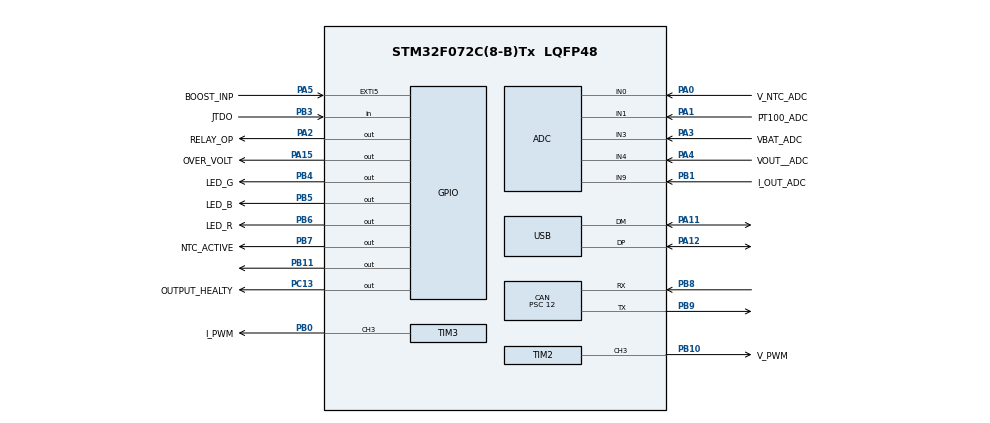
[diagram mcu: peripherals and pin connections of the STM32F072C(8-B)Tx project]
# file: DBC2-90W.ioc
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ADC.ContinuousConvMode=DISABLE
ADC.DMAContinuousRequests=ENABLE
ADC.DiscontinuousConvMode=ENABLE
ADC.EOCSelection=ADC_EOC_SEQ_CONV
ADC.ExternalTrigConv=ADC_EXTERNALTRIGCONV_T3_TRGO
ADC.Overrun=ADC_OVR_DATA_OVERWRITTEN
ADC.SamplingTime=ADC_SAMPLETIME_71CYCLES_5
CAN.BS1=CAN_BS1_13TQ
CAN.BS2=CAN_BS2_2TQ
CAN.CalculateBaudRate=250000
CAN.CalculateTimeBit=4000
CAN.CalculateTimeQuantum=250.0
CAN.Mode=CAN_MODE_LOOPBACK
CAN.NART=ENABLE
CAN.Prescaler=12
CAN.SJW=CAN_SJW_1TQ
CAN.TTCM=DISABLE
Dma.ADC.0.Direction=DMA_PERIPH_TO_MEMORY
Dma.ADC.0.Instance=DMA1_Channel1
Dma.ADC.0.MemDataAlignment=DMA_MDATAALIGN_HALFWORD
Dma.ADC.0.MemInc=DMA_MINC_ENABLE
Dma.ADC.0.Mode=DMA_CIRCULAR
Dma.ADC.0.PeriphDataAlignment=DMA_PDATAALIGN_HALFWORD
Dma.ADC.0.PeriphInc=DMA_PINC_DISABLE
Dma.ADC.0.Priority=DMA_PRIORITY_HIGH
Dma.Request0=ADC
Mcu.Family=STM32F0
Mcu.Name=STM32F072C(8-B)Tx
Mcu.Package=LQFP48
NVIC.CEC_CAN_IRQn=true\:0\:0\:false\:false\:true\:true\:true\:true
NVIC.EXTI4_15_IRQn=true\:2\:0\:true\:false\:true\:true\:true\:true
NVIC.TIM14_IRQn=true\:1\:0\:true\:false\:true\:true\:true\:true
NVIC.TIM15_IRQn=true\:3\:0\:false\:false\:true\:false\:true\:true
NVIC.TimeBase=TIM15_IRQn
NVIC.TimeBaseIP=TIM15
NVIC.USB_IRQn=true\:0\:0\:true\:false\:true\:false\:true\:true
PA0.GPIO_Label=V_NTC_ADC
PA0.Mode=IN0
PA0.Signal=ADC_IN0
PA1.GPIO_Label=PT100_ADC
PA1.Mode=IN1
PA1.Signal=ADC_IN1
PA11.Mode=Device
PA11.Signal=USB_DM
PA12.Mode=Device
PA12.Signal=USB_DP
PA13.Mode=Serial_Wire
PA13.Signal=SYS_SWDIO
PA14.Mode=Serial_Wire
PA14.Signal=SYS_SWCLK
PA15.GPIO_Label=OVER_VOLT
PA15.GPIO_PuPd=GPIO_PULLUP
PA15.Signal=GPIO_Output
PA2.GPIO_Label=RELAY_OP
PA2.Signal=GPIO_Output
PA3.GPIO_Label=VBAT_ADC
PA3.Mode=IN3
PA3.Signal=ADC_IN3
PA4.GPIO_Label=VOUT__ADC
PA4.Mode=IN4
PA4.Signal=ADC_IN4
PA5.GPIO_Label=BOOST_INP
PA5.GPIO_ModeDefaultEXTI=GPIO_MODE_IT_RISING_FALLING
PA5.Signal=GPXTI5
PB0.GPIO_Label=I_PWM
PB0.Signal=S_TIM3_CH3
PB1.GPIO_Label=I_OUT_ADC
PB1.Mode=IN9
PB1.Signal=ADC_IN9
PB10.GPIO_Label=V_PWM
PB10.Signal=S_TIM2_CH3
PB11.Signal=GPIO_Output
PB3.GPIO_Label=JTDO
PB3.Signal=GPIO_Input
PB4.GPIO_Label=LED_G
PB4.Signal=GPIO_Output
PB5.GPIO_Label=LED_B
PB5.Signal=GPIO_Output
PB6.GPIO_Label=LED_R
PB6.Signal=GPIO_Output
PB7.GPIO_Label=NTC_ACTIVE
PB7.Signal=GPIO_Output
PB8.Mode=CAN_Activate
PB8.Signal=CAN_RX
PB9.Mode=CAN_Activate
PB9.Signal=CAN_TX
PC13.GPIO_Label=OUTPUT_HEALTY
PC13.GPIO_PuPd=GPIO_PULLDOWN
PC13.Signal=GPIO_Output
ProjectManager.HeapSize=0x200
ProjectManager.StackSize=0x400
ProjectManager.TargetToolchain=STM32CubeIDE
RCC.AHBFreq_Value=48000000
RCC.APB1Freq_Value=48000000
RCC.APB1TimFreq_Value=48000000
RCC.HCLKFreq_Value=48000000
RCC.SYSCLKFreq_VALUE=48000000
RCC.SYSCLKSource=RCC_SYSCLKSOURCE_HSI48
SH.S_TIM2_CH3.0=TIM2_CH3,PWM Generation3 CH3
SH.S_TIM3_CH3.0=TIM3_CH3,PWM Generation3 CH3
TIM14.AutoReloadPreload=TIM_AUTORELOAD_PRELOAD_DISABLE
TIM14.Period=12000-1
TIM14.Prescaler=4-1
TIM2.Channel-PWM\ Generation3\ CH3=TIM_CHANNEL_3
TIM2.Period=3200-1
TIM2.Prescaler=1-1
TIM2.TIM_MasterOutputTrigger=TIM_TRGO_UPDATE
TIM3.Channel-PWM\ Generation3\ CH3=TIM_CHANNEL_3
TIM3.OCPolarity_3=TIM_OCPOLARITY_LOW
TIM3.Period=3200-1
TIM3.Prescaler=1-1
TIM3.TIM_MasterOutputTrigger=TIM_TRGO_UPDATE
USB_DEVICE.CLASS_NAME_FS=CDC
USB_DEVICE.MANUFACTURER_STRING=EN-KO Control Systems
USB_DEVICE.VirtualMode=Cdc
USB_DEVICE.VirtualModeFS=Cdc_FS
VP_ADC_TempSens_Input.Mode=IN-TempSens
VP_IWDG_VS_IWDG.Mode=IWDG_Activate
VP_SYS_VS_tim15.Mode=TIM15
VP_TIM14_VS_ClockSourceINT.Mode=Enable_Timer
VP_USB_DEVICE_VS_USB_DEVICE_CDC_FS.Mode=CDC_FS
board=custom

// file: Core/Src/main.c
/* USER CODE BEGIN Header */
/**
  ******************************************************************************
  * @file           : main.c
  * @brief          : Main program body
  ******************************************************************************
  * @attention
  * DBC2 Battery Charger Project Developed by ENKO Control Systems
  ******************************************************************************
  */
/* USER CODE END Header */
#include "main.h"
#include "adc.h"
#include "can.h"
#include "dma.h"
#include "iwdg.h"
#include "tim.h"
#include "usb_device.h"
#include "gpio.h"

/* USER CODE BEGIN Includes */
#include "Interfaces.h"
/* USER CODE END Includes */

/* USER CODE BEGIN PV */
volatile uint16_t vPwmDuty = 0; // V_PWM duty golgesi, bkz. defaults.h V_PWM_APPLY

/* USER CODE END PV */

void SystemClock_Config(void);

/* USER CODE BEGIN 0 */
void USBPinDown(uint32_t delay)
{
	GPIO_InitTypeDef GPIO_InitStruct = {0};
	__HAL_RCC_GPIOA_CLK_ENABLE();
	HAL_GPIO_DeInit(GPIOA, (GPIO_PIN_11|GPIO_PIN_12));
	GPIO_InitStruct.Pin = GPIO_PIN_11|GPIO_PIN_12;
	GPIO_InitStruct.Mode = GPIO_MODE_OUTPUT_PP;
	GPIO_InitStruct.Pull = GPIO_NOPULL;
	GPIO_InitStruct.Speed = GPIO_SPEED_FREQ_LOW;
	HAL_GPIO_Init(GPIOA, &GPIO_InitStruct);
	HAL_GPIO_WritePin(GPIOA, (GPIO_PIN_11|GPIO_PIN_12), GPIO_PIN_RESET);
	HAL_Delay(delay);
	HAL_GPIO_DeInit(GPIOA, (GPIO_PIN_11|GPIO_PIN_12));
}
/* USER CODE END 0 */

int main(void)
{

  /* USER CODE BEGIN 1 */
  _initVectorTable();
  /* USER CODE END 1 */

  /* MCU Configuration--------------------------------------------------------*/

  /* Reset of all peripherals, Initializes the Flash interface and the Systick. */
  HAL_Init();

  /* Configure the system clock */
  SystemClock_Config();

  /* USER CODE BEGIN SysInit */
  #ifndef DEBUG_MODE_OPTIONS
  _lockOB();
  #endif

  HAL_Delay(1000);
  USBPinDown(100);
  /* USER CODE END SysInit */

  /* Initialize all configured peripherals */
  MX_GPIO_Init();
  MX_DMA_Init();
  MX_ADC_Init();
  MX_USB_DEVICE_Init();
  MX_TIM14_Init();
  MX_TIM3_Init();
  MX_IWDG_Init();
  MX_CAN_Init();
  MX_TIM2_Init();
  /* USER CODE BEGIN 2 */
  MX_GPIO_UserInit();
  _corePostInit();
  /* USER CODE END 2 */

  /* Infinite loop */
	while (1)
	{

    /* USER CODE BEGIN 3 */
	  _coreLoop();
	}
  /* USER CODE END 3 */
}

void SystemClock_Config(void)
{
  LL_FLASH_SetLatency(LL_FLASH_LATENCY_1);
  while(LL_FLASH_GetLatency() != LL_FLASH_LATENCY_1)
  {
  }
  LL_RCC_HSI14_Enable();

   /* Wait till HSI14 is ready */
  while(LL_RCC_HSI14_IsReady() != 1)
  {

  }
  LL_RCC_HSI14_SetCalibTrimming(16);
  LL_RCC_HSI48_Enable();

   /* Wait till HSI48 is ready */
  while(LL_RCC_HSI48_IsReady() != 1)
  {

  }
  LL_RCC_LSI_Enable();

   /* Wait till LSI is ready */
  while(LL_RCC_LSI_IsReady() != 1)
  {

  }
  LL_RCC_SetAHBPrescaler(LL_RCC_SYSCLK_DIV_1);
  LL_RCC_SetAPB1Prescaler(LL_RCC_APB1_DIV_1);
  LL_RCC_SetSysClkSource(LL_RCC_SYS_CLKSOURCE_HSI48);

   /* Wait till System clock is ready */
  while(LL_RCC_GetSysClkSource() != LL_RCC_SYS_CLKSOURCE_STATUS_HSI48)
  {

  }
  LL_SetSystemCoreClock(48000000);

   /* Update the time base */
  if (HAL_InitTick (TICK_INT_PRIORITY) != HAL_OK)
  {
    Error_Handler();
  }
  LL_RCC_HSI14_EnableADCControl();
  LL_RCC_SetUSBClockSource(LL_RCC_USB_CLKSOURCE_HSI48);
}

void HAL_TIM_PeriodElapsedCallback(TIM_HandleTypeDef *htim)
{
  if (htim->Instance == TIM15)
  {
    HAL_IncTick();
  }
  /* USER CODE BEGIN Callback 1 */
  else if (htim->Instance == TIMER_1MS.Instance){
    Callback1ms();
  }
  /* USER CODE END Callback 1 */
}

void Error_Handler(void)
{
  __disable_irq();
  while (1)
  {
  }
}
